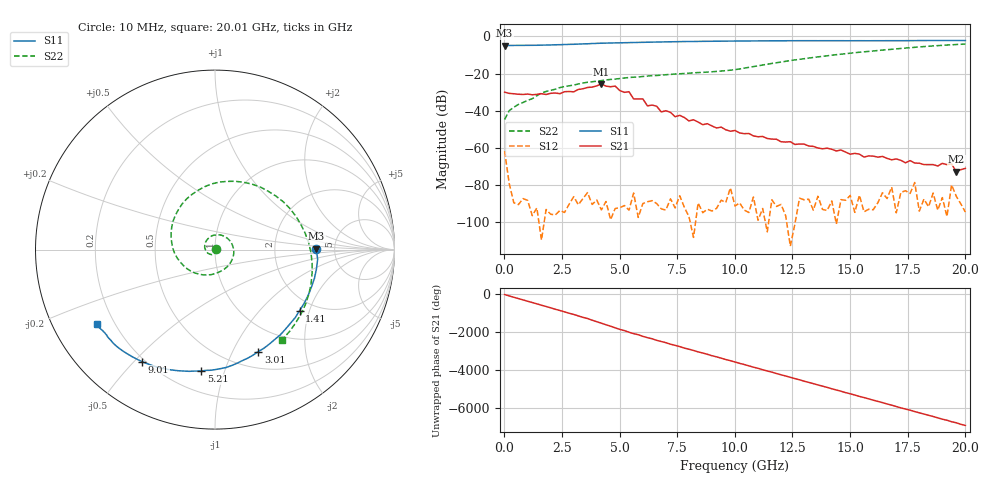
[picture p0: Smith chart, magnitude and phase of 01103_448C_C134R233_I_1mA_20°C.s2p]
!;Filter: kein Filter
!auto
!3/21/2019 9:26:39 AM
!3/21/2019 9:26:51 AM
!SP-Measurements Prober G4
!SP-Measurements Prober G4
!134
!233
!12
!20
!-20
!0.00099996
!1.65
!0.05816927
!0.05816927
# Hz S  RI  R 50
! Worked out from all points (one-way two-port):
!   101 points, 10 MHz to 20.01 GHz, reference 50 ohm
!   highest |S21| = -25.52 dB at 4.21 GHz (marker M1); lowest = -72.7 dB at 19.61 GHz (marker M2)
!   lowest |S11| = -5.0 dB at 10 MHz (marker M3), VSWR 3.59, Z = 179 + j2.55 ohm
!   |S11| at or under -10 dB: nowhere
!   |S22| runs from -44.7 to -4.1 dB; largest |S21 - S12| = 0.053
!   S11 on the Smith chart (normalised r, x): 10 MHz: 3.59, +0.05; 1.41 GHz: 1.68, -1.72; 3.01 GHz: 0.69, -1.26; 5.21 GHz: 0.33, -0.84; 9.01 GHz: 0.19, -0.53; 20.01 GHz: 0.14, -0.28
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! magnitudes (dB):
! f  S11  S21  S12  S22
! 10 MHz  -5.0  -30.0  -61.7  -44.7
! 210 MHz  -4.8  -30.6  -79.1  -39.9
! 1.41 GHz  -4.7  -31.2  -92.3  -31.9
! 3.01 GHz  -4.2  -29.8  -86.2  -26.1
! 3.41 GHz  -4.0  -28.2  -87.2  -25.1
! 4.21 GHz  -3.6  -25.5  -93.3  -23.7
! 4.81 GHz  -3.4  -26.7  -92.6  -22.9
! 5.21 GHz  -3.3  -30.1  -91.0  -22.3
! 5.41 GHz  -3.3  -29.7  -93.5  -22.1
! 5.61 GHz  -3.2  -33.6  -84.3  -21.9
! 6.01 GHz  -3.1  -33.6  -89.9  -21.5
! 6.21 GHz  -3.1  -37.3  -89.0  -21.3
! 6.61 GHz  -3.0  -37.5  -89.9  -21.0
! 6.81 GHz  -2.9  -40.6  -92.8  -20.8
! 9.01 GHz  -2.6  -48.1  -93.9  -19.0
! 10.01 GHz  -2.5  -50.6  -91.3  -17.9
! 13.41 GHz  -2.3  -59.1  -93.5  -11.3
! 16.81 GHz  -2.2  -66.4  -81.1  -6.9
! 18.81 GHz  -2.2  -69.7  -93.5  -4.9
! 19.41 GHz  -2.1  -68.6  -79.9  -4.5
! 19.61 GHz  -2.1  -72.7  -85.9  -4.3
! 20.01 GHz  -2.2  -71.0  -94.5  -4.1
